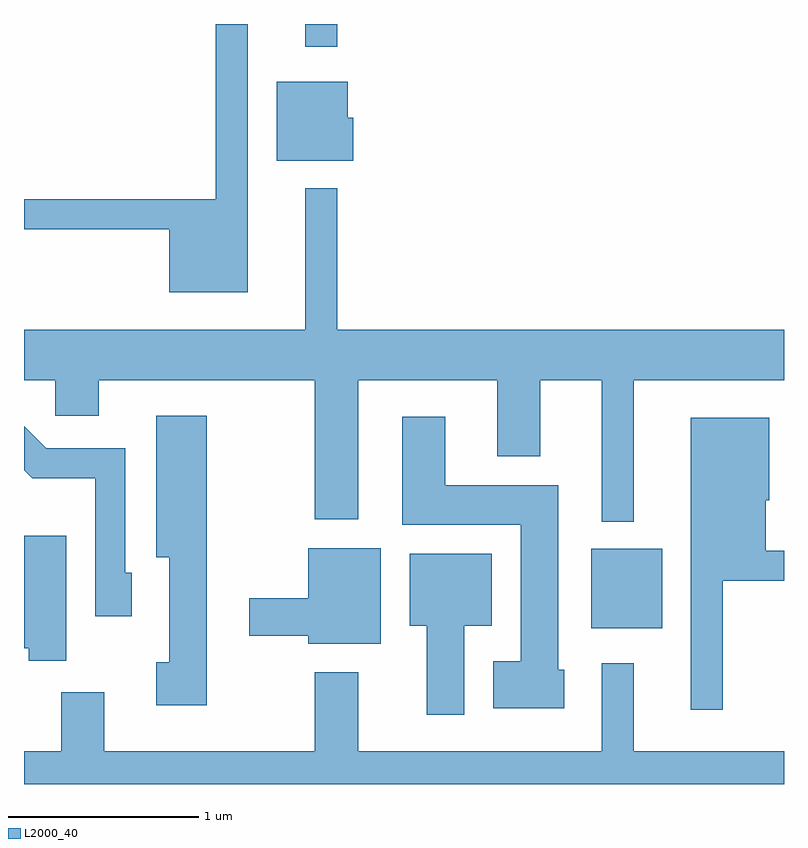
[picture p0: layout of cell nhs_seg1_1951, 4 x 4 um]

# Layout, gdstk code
import gdstk
lib = gdstk.Library(unit=1e-6, precision=1e-09)
def R(c, l, rs):  # rectangles x0, y0, x1, y1
    for r in rs: c.add(gdstk.rectangle(r[:2], r[2:], *l))
def P(c, l, *ps):  # polygons
    for p in ps: c.add(gdstk.Polygon(p, *l))
L2000_40 = (2000, 40)

nhs_seg1_1951 = lib.new_cell('nhs_seg1_1951')
R(nhs_seg1_1951, L2000_40, [(248.596,860.531,248.969,860.949), (247.091,863.593,247.259,863.712)])
P(nhs_seg1_1951, L2000_40, [(246.789,863.712),(246.621,863.712),(246.621,862.789),(245.611,862.789),(245.611,862.631),(246.376,862.631),(246.376,862.301),(246.789,862.301)],
  [(247.344,863.219),(247.314,863.219),(247.314,863.409),(246.941,863.409),(246.941,862.991),(247.344,862.991)],
  [(248.819,861.836),(249.611,861.836),(249.611,862.104),(247.259,862.104),(247.259,862.848),(247.091,862.848),(247.091,862.104),(245.611,862.104),(245.611,861.836),(245.776,861.836),(245.776,861.651),(246.004,861.651),(246.004,861.836),(247.141,861.836),(247.141,861.106),(247.369,861.106),(247.369,861.836),(248.101,861.836),(248.101,861.436),(248.329,861.436),(248.329,861.836),(248.651,861.836),(248.651,861.093),(248.819,861.093)],
  [(246.574,861.649),(246.306,861.649),(246.306,860.906),(246.376,860.906),(246.376,860.354),(246.306,860.354),(246.306,860.126),(246.574,860.126)],
  [(248.454,860.314),(248.424,860.314),(248.424,861.284),(247.829,861.284),(247.829,861.644),(247.601,861.644),(247.601,861.076),(248.226,861.076),(248.226,860.359),(248.081,860.359),(248.081,860.111),(248.454,860.111)],
  [(249.289,860.781),(249.611,860.781),(249.611,860.939),(249.514,860.939),(249.514,861.206),(249.534,861.206),(249.534,861.639),(249.121,861.639),(249.121,860.103),(249.289,860.103)],
  [(246.179,860.824),(246.144,860.824),(246.144,861.479),(245.727,861.479),(245.611,861.595),(245.611,861.364),(245.654,861.321),(245.986,861.321),(245.986,860.596),(246.179,860.596)],
  [(245.834,861.019),(245.611,861.019),(245.611,860.426),(245.636,860.426),(245.636,860.361),(245.834,860.361)],
  [(247.489,860.954),(247.106,860.954),(247.106,860.689),(246.796,860.689),(246.796,860.491),(247.106,860.491),(247.106,860.451),(247.489,860.451)],
  [(247.929,860.546),(248.074,860.546),(248.074,860.924),(247.641,860.924),(247.641,860.546),(247.731,860.546),(247.731,860.076),(247.929,860.076)],
  [(249.611,859.884),(248.819,859.884),(248.819,860.348),(248.651,860.348),(248.651,859.884),(247.369,859.884),(247.369,860.299),(247.141,860.299),(247.141,859.884),(246.034,859.884),(246.034,860.194),(245.806,860.194),(245.806,859.884),(245.611,859.884),(245.611,859.712),(249.611,859.712)])

lib.write_gds('nhs_seg1_1951.gds')
